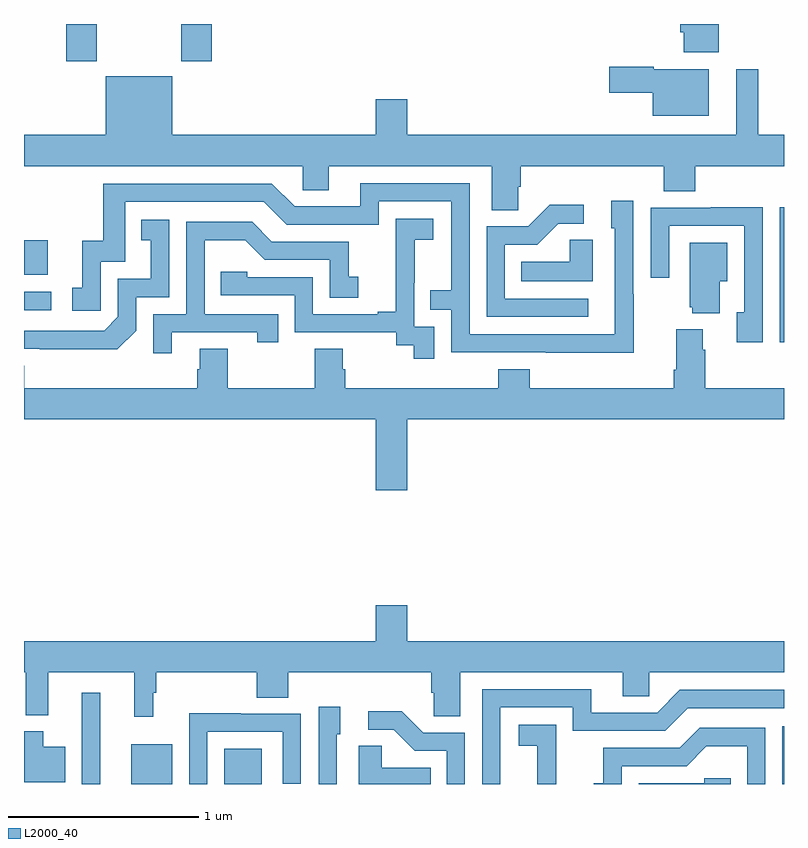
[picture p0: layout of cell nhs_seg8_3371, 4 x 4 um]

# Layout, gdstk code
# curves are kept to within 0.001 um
import gdstk
lib = gdstk.Library(unit=1e-6, precision=1e-09)
def R(c, l, rs):  # rectangles x0, y0, x1, y1
    for r in rs: c.add(gdstk.rectangle(r[:2], r[2:], *l))
def P(c, l, *ps):  # polygons
    for p in ps: c.add(gdstk.Polygon(p, *l))
L2000_40 = (2000, 40)

nhs_seg8_3371 = lib.new_cell('nhs_seg8_3371')
R(nhs_seg8_3371, L2000_40, [(319.305,1127.9,319.402,1128.379), (319.565,1127.9,319.78,1128.109), (320.054,1127.9,320.251,1128.085), (322.992,1127.9,323,1128.205), (322.977,1130.226,323,1130.936), (319,1130.394,319.144,1130.49), (319,1130.579,319.126,1130.761), (319.223,1131.705,319.383,1131.9), (319.828,1131.705,319.988,1131.9)])
P(nhs_seg8_3371, L2000_40, [(322.657,1131.9),(322.453,1131.9),(322.453,1131.856),(322.473,1131.856),(322.473,1131.752),(322.657,1131.752)],
  [(322.603,1131.661),(322.314,1131.661),(322.314,1131.674),(322.08,1131.674),(322.08,1131.539),(322.31,1131.539),(322.31,1131.416),(322.603,1131.416)],
  [(321.6,1131.043),(321.614,1131.043),(321.614,1131.152),(322.367,1131.152),(322.367,1131.019),(322.532,1131.019),(322.532,1131.152),(323,1131.152),(323,1131.316),(322.865,1131.316),(322.865,1131.661),(322.748,1131.661),(322.748,1131.316),(321.016,1131.316),(321.016,1131.505),(320.852,1131.505),(320.852,1131.316),(319.78,1131.316),(319.78,1131.625),(319.43,1131.625),(319.43,1131.316),(319,1131.316),(319,1131.152),(320.466,1131.152),(320.466,1131.025),(320.605,1131.025),(320.605,1131.152),(321.461,1131.152),(321.461,1130.92),(321.6,1130.92)],
  [(322.209,1130.477),(322.206,1130.477),(322.206,1130.971),(322.091,1130.971),(322.091,1130.826),(322.11,1130.826),(322.11,1130.268),(321.345,1130.268),(321.345,1131.063),(320.771,1131.063),(320.771,1130.94),(320.424,1130.94),(320.304,1131.06),(319.417,1131.06),(319.417,1130.758),(319.307,1130.758),(319.307,1130.511),(319.254,1130.511),(319.254,1130.391),(319.404,1130.391),(319.404,1130.649),(319.533,1130.649),(319.533,1130.964),(320.262,1130.964),(320.382,1130.844),(320.868,1130.844),(320.868,1130.967),(321.249,1130.967),(321.249,1130.498),(321.139,1130.498),(321.139,1130.397),(321.249,1130.397),(321.249,1130.172),(322.209,1130.171)],
  [(321.97,1130.454),(321.531,1130.454),(321.531,1130.739),(321.7,1130.739),(321.811,1130.85),(321.946,1130.85),(321.946,1130.948),(321.767,1130.948),(321.654,1130.835),(321.435,1130.835),(321.435,1130.358),(321.97,1130.358)],
  [(322.887,1130.936),(322.615,1130.936),(322.615,1130.934),(322.299,1130.934),(322.299,1130.565),(322.395,1130.565),(322.395,1130.838),(322.791,1130.838),(322.791,1130.382),(322.751,1130.382),(322.751,1130.226),(322.887,1130.226)],
  [(321.159,1130.307),(321.054,1130.307),(321.054,1130.537),(321.056,1130.537),(321.056,1130.765),(321.154,1130.765),(321.154,1130.875),(320.956,1130.875),(320.956,1130.669),(320.957,1130.669),(320.957,1130.386),(320.861,1130.386),(320.861,1130.373),(320.52,1130.373),(320.52,1130.568),(320.175,1130.568),(320.175,1130.595),(320.035,1130.595),(320.035,1130.472),(320.424,1130.472),(320.424,1130.277),(320.958,1130.277),(320.958,1130.209),(321.051,1130.209),(321.051,1130.139),(321.159,1130.139)],
  [(319.59,1130.286),(319.59,1130.463),(319.764,1130.463),(319.764,1130.869),(319.618,1130.869),(319.618,1130.763),(319.667,1130.763),(319.667,1130.559),(319.494,1130.559),(319.494,1130.358),(319.422,1130.286),(319,1130.286),(319,1130.19),(319.084,1130.189),(319.492,1130.189)],
  [(319.777,1130.277),(320.228,1130.277),(320.228,1130.226),(320.339,1130.226),(320.339,1130.373),(319.95,1130.373),(319.95,1130.762),(320.164,1130.762),(320.268,1130.658),(320.61,1130.658),(320.61,1130.46),(320.758,1130.46),(320.758,1130.569),(320.709,1130.569),(320.709,1130.754),(320.305,1130.754),(320.2,1130.859),(319.854,1130.859),(319.854,1130.373),(319.68,1130.373),(319.68,1130.166),(319.777,1130.166)],
  [(321.994,1130.765),(321.873,1130.765),(321.873,1130.65),(321.616,1130.65),(321.616,1130.546),(321.994,1130.546)],
  [(322.663,1130.546),(322.702,1130.546),(322.702,1130.749),(322.505,1130.749),(322.505,1130.409),(322.517,1130.409),(322.517,1130.378),(322.663,1130.378)],
  [(321.016,1129.82),(323,1129.82),(323,1129.984),(322.586,1129.984),(322.586,1130.186),(322.573,1130.186),(322.573,1130.293),(322.433,1130.293),(322.433,1130.08),(322.421,1130.08),(322.421,1129.984),(321.662,1129.984),(321.662,1130.083),(321.497,1130.083),(321.497,1129.984),(320.69,1129.984),(320.69,1130.082),(320.677,1130.082),(320.677,1130.192),(320.53,1130.192),(320.53,1129.984),(320.073,1129.984),(320.073,1130.192),(319.925,1130.192),(319.925,1130.082),(319.913,1130.082),(319.913,1129.984),(319.001,1129.984),(319.001,1130.101),(319,1130.101),(319,1129.82),(320.852,1129.82),(320.852,1129.446),(321.016,1129.446)],
  [(319.679,1128.38),(319.697,1128.38),(319.697,1128.488),(320.225,1128.488),(320.225,1128.355),(320.39,1128.355),(320.39,1128.488),(321.143,1128.488),(321.143,1128.379),(321.156,1128.379),(321.156,1128.256),(321.295,1128.256),(321.295,1128.488),(322.151,1128.488),(322.151,1128.361),(322.29,1128.361),(322.29,1128.488),(323,1128.488),(323,1128.652),(321.016,1128.652),(321.016,1128.841),(320.852,1128.841),(320.852,1128.652),(319,1128.652),(319,1128.488),(319.009,1128.488),(319.009,1128.263),(319.127,1128.263),(319.127,1128.488),(319.58,1128.488),(319.58,1128.255),(319.679,1128.255)],
  [(321.507,1128.303),(321.888,1128.303),(321.888,1128.18),(322.374,1128.18),(322.494,1128.3),(323,1128.3),(323,1128.396),(322.452,1128.396),(322.332,1128.276),(321.985,1128.276),(321.985,1128.399),(321.411,1128.399),(321.411,1127.9),(321.507,1127.9)],
  [(320.646,1128.162),(320.665,1128.162),(320.665,1128.307),(320.55,1128.307),(320.55,1127.9),(320.646,1127.9)],
  [(321.321,1128.171),(321.102,1128.171),(320.989,1128.284),(320.811,1128.284),(320.811,1128.186),(320.945,1128.186),(321.056,1128.075),(321.225,1128.075),(321.225,1127.9),(321.321,1127.9)],
  [(319.965,1128.174),(320.361,1128.174),(320.361,1127.901),(320.457,1127.901),(320.457,1128.27),(320.141,1128.27),(320.141,1128.272),(319.869,1128.272),(319.869,1127.9),(319.965,1127.9)],
  [(321.8,1128.005),(321.801,1128.005),(321.801,1128.211),(321.603,1128.211),(321.603,1128.101),(321.701,1128.101),(321.701,1127.9),(321.8,1127.9)],
  [(322.146,1127.994),(322.488,1127.994),(322.592,1128.098),(322.806,1128.098),(322.806,1127.9),(322.902,1127.9),(322.902,1128.195),(322.556,1128.195),(322.451,1128.09),(322.048,1128.09),(322.048,1127.905),(321.999,1127.905),(321.999,1127.9),(322.146,1127.9)],
  [(319.216,1128.097),(319.102,1128.097),(319.102,1128.178),(319,1128.178),(319,1127.909),(319.216,1127.909)],
  [(321.14,1127.986),(320.883,1127.986),(320.883,1128.101),(320.762,1128.101),(320.762,1127.9),(321.14,1127.9)],
  [(322.721,1127.931),(322.581,1127.931),(322.581,1127.904),(322.236,1127.904),(322.236,1127.9),(322.721,1127.9)])

lib.write_gds('nhs_seg8_3371.gds')
